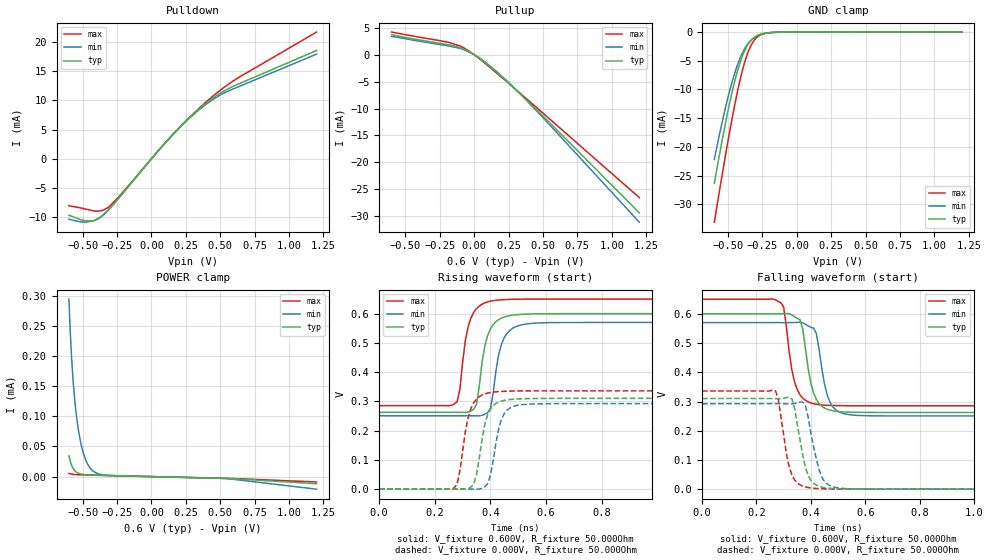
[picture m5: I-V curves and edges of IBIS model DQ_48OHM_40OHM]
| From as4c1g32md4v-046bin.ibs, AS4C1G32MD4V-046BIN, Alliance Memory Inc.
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|   MODEL: DQ_48OHM_40OHM
[Model]   DQ_48OHM_40OHM
Model_type   I/O
Polarity   Non-Inverting
Enable   Active-High
Vinl   = 0.080V
Vinh   = 0.220V
Vmeas   = 0.150V
Vref   = 0.150V
Cref   = 0.000pF
Rref   = 50.000Ohm
|   typ   min   max
C_comp   0.875pF   0.788pF   0.963pF
[Voltage Range]   0.600V   0.570V   0.650V
[Temperature Range]   25.0   95.0   -40.0
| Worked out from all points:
|   slope of the pulldown table from 0 to 0.09 V, typ, clamps not added: 36.2 ohm
|   slope of the pullup table from 0 to 0.09 V, typ, clamps not added: 52.7 ohm
|   GND clamp passes 1 mA (typ) near -0.31 V on its own axis
|   rising waveform, V_fixture 0.600V, R_fixture 50.000Ohm: 20-80 % time 36.8ps typ, 37.2ps min, 35.3ps max; typ from 0.262 V to 0.6 V
|   falling waveform, V_fixture 0.600V, R_fixture 50.000Ohm: 20-80 % time 37.3ps typ, 38.1ps min, 36.4ps max; typ from 0.6 V to 0.262 V
|   rising waveform, V_fixture 0.000V, R_fixture 50.000Ohm: 20-80 % time 36.1ps typ, 36.1ps min, 36.7ps max; typ from 0 V to 0.31 V
|   falling waveform, V_fixture 0.000V, R_fixture 50.000Ohm: 20-80 % time 39ps typ, 40.8ps min, 36.8ps max; typ from 0.31 V to 0 V
[Pulldown]
|   Voltage   I(typ)   I(min)   I(max)
-600mV    -9.677mA   -10.37mA   -8.055mA
-480mV    -10.64mA   -10.88mA   -8.627mA
-420mV    -10.62mA   -10.63mA   -8.948mA
-350mV    -9.692mA   -9.595mA   -8.829mA
-310mV    -8.758mA   -8.678mA   -8.266mA
-230mV    -6.56mA    -6.516mA   -6.345mA
130mV     3.534mA    3.49mA     3.493mA
270mV     6.924mA    6.817mA    6.938mA
400mV     9.592mA    9.392mA    9.8mA
490mV     11.1mA     10.8mA     11.56mA
580mV     12.28mA    11.83mA    13.12mA
1.2V      18.56mA    17.95mA    21.73mA
[Pullup]
|   Voltage   I(typ)   I(min)   I(max)
-600mV    3.666mA    3.362mA    4.175mA
-180mV    1.791mA    1.583mA    2.24mA
-100mV    1.29mA     1.134mA    1.576mA
0V        0A         0A         0A
80mV      -1.505mA   -1.39mA    -1.643mA
220mV     -4.564mA   -4.445mA   -4.653mA
400mV     -8.893mA   -8.998mA   -8.629mA
1.2V      -29.33mA   -31.08mA   -26.52mA
[GND Clamp]
|   Voltage   I(typ)   I(min)   I(max)
-600mV    -26.36mA   -22.19mA   -33.14mA
-550mV    -19.73mA   -16.43mA   -25.84mA
-510mV    -14.79mA   -12.27mA   -20.24mA
-470mV    -10.36mA   -8.615mA   -14.96mA
-430mV    -6.627mA   -5.609mA   -10.17mA
-390mV    -3.805mA   -3.349mA   -6.151mA
-360mV    -2.341mA   -2.151mA   -3.819mA
-320mV    -1.14mA    -1.122mA   -1.755mA
-280mV    -524.1uA   -555.5uA   -715.7uA
-230mV    -184.4uA   -215.6uA   -213.3uA
-140mV    -20.29uA   -29.99uA   -17.96uA
1.2V      6.836uA    7.386uA    6.714uA
[POWER Clamp]
|   Voltage   I(typ)   I(min)   I(max)
-600mV    34.27uA    294.1uA    5.169uA
-590mV    25uA       238.9uA    4.47uA
-570mV    13.84uA    160.6uA    3.674uA
-560mV    10.58uA    132.6uA    3.444uA
-540mV    6.655uA    91.24uA    3.146uA
-520mV    4.678uA    62.84uA    2.957uA
-490mV    3.339uA    35.2uA     2.748uA
-460mV    2.772uA    19.1uA     2.569uA
-420mV    2.39uA     8.47uA     2.342uA
-300mV    1.671uA    1.938uA    1.671uA
560mV     -3.13uA    -3.595uA   -3.086uA
1.2V      -11.8uA    -20.82uA   -8.926uA
[Ramp]
R_load = 50.000Ohm
|   typ   min   max
dV/dt_r   0.203V/40.000ps   0.192V/40.000ps   0.219V/30.000ps
dV/dt_f   0.202V/30.000ps   0.192V/40.000ps   0.219V/40.000ps
|Slew_r   5.064V/ns   4.790V/ns   7.294V/ns
|Slew_f   6.750V/ns   4.789V/ns   5.468V/ns
[Rising Waveform]
V_fixture = 0.600V
V_fixture_min = 0.570V
V_fixture_max = 0.650V
R_fixture = 50.000Ohm
L_fixture = 0.000nH
C_fixture = 0.000pF
|dV/dt_r   0.203V/40.000ps   0.192V/40.000ps   0.219V/30.000ps
|Slew_r   5.064V/ns   4.790V/ns   7.294V/ns
|   Time   V(typ)   V(min)   V(max)
0s        262.4mV    250.6mV    285.3mV
280ps     262.6mV    250.6mV    298.4mV
310ps     262.1mV    250.8mV    509.5mV
340ps     273.1mV    250.6mV    604.7mV
380ps     490.2mV    256.2mV    637.1mV
400ps     547.8mV    276.3mV    642.9mV
440ps     584.9mV    496.3mV    647.6mV
490ps     596.1mV    555mV      649.4mV
620ps     599.8mV    569.5mV    649.9mV
5ns       600mV      570mV      650mV
[Falling Waveform]
V_fixture = 0.600V
V_fixture_min = 0.570V
V_fixture_max = 0.650V
R_fixture = 50.000Ohm
L_fixture = 0.000nH
C_fixture = 0.000pF
|dV/dt_f   0.202V/30.000ps   0.192V/40.000ps   0.219V/40.000ps
|Slew_f   6.750V/ns   4.789V/ns   5.468V/ns
|   Time   V(typ)   V(min)   V(max)
0s        599.9mV    569.9mV    649.9mV
290ps     600.1mV    569.9mV    637.6mV
300ps     600.6mV    569.9mV    622.7mV
330ps     596.7mV    570.1mV    408.3mV
360ps     579.9mV    571mV      322.8mV
420ps     307.4mV    532.1mV    290.5mV
440ps     283.7mV    412.6mV    288.3mV
480ps     268.3mV    282.2mV    286.3mV
580ps     262.8mV    252.1mV    285.5mV
5ns       262.4mV    250.7mV    285.4mV
[Rising Waveform]
V_fixture = 0.000V
V_fixture_min = 0.000V
V_fixture_max = 0.000V
R_fixture = 50.000Ohm
L_fixture = 0.000nH
C_fixture = 0.000pF
|dV/dt_r   0.186V/30.000ps   0.175V/30.000ps   0.202V/30.000ps
|Slew_r   6.205V/ns   5.847V/ns   6.720V/ns
|   Time   V(typ)   V(min)   V(max)
0s        3.954uV    11.76uV    1.679uV
270ps     82.35uV    12.41uV    4.632mV
290ps     -191.1uV   40.32uV    61.2mV
330ps     7.261mV    -161.3uV   276.3mV
350ps     49.41mV    -396.2uV   308mV
390ps     253.6mV    18.36mV    328.2mV
430ps     298mV      207.9mV    333.4mV
470ps     306.4mV    277.2mV    335.1mV
570ps     309.9mV    291.5mV    336mV
5ns       310.2mV    292.4mV    336mV
[Falling Waveform]
V_fixture = 0.000V
V_fixture_min = 0.000V
V_fixture_max = 0.000V
R_fixture = 50.000Ohm
L_fixture = 0.000nH
C_fixture = 0.000pF
|dV/dt_f   0.186V/40.000ps   0.175V/40.000ps   0.202V/40.000ps
|Slew_f   4.653V/ns   4.385V/ns   5.039V/ns
|   Time   V(typ)   V(min)   V(max)
0s        310.2mV    292.3mV    335.9mV
270ps     309.8mV    292.4mV    336.1mV
280ps     309.5mV    292.4mV    309mV
310ps     313.2mV    291.7mV    121.7mV
330ps     309mV      291.7mV    48.55mV
380ps     73.92mV    284.8mV    7.522mV
420ps     13.71mV    103.1mV    2.346mV
460ps     3.727mV    17.46mV    912.3uV
560ps     364.4uV    951.1uV    49.94uV
5ns       4.389uV    12.16uV    2.12uV
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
